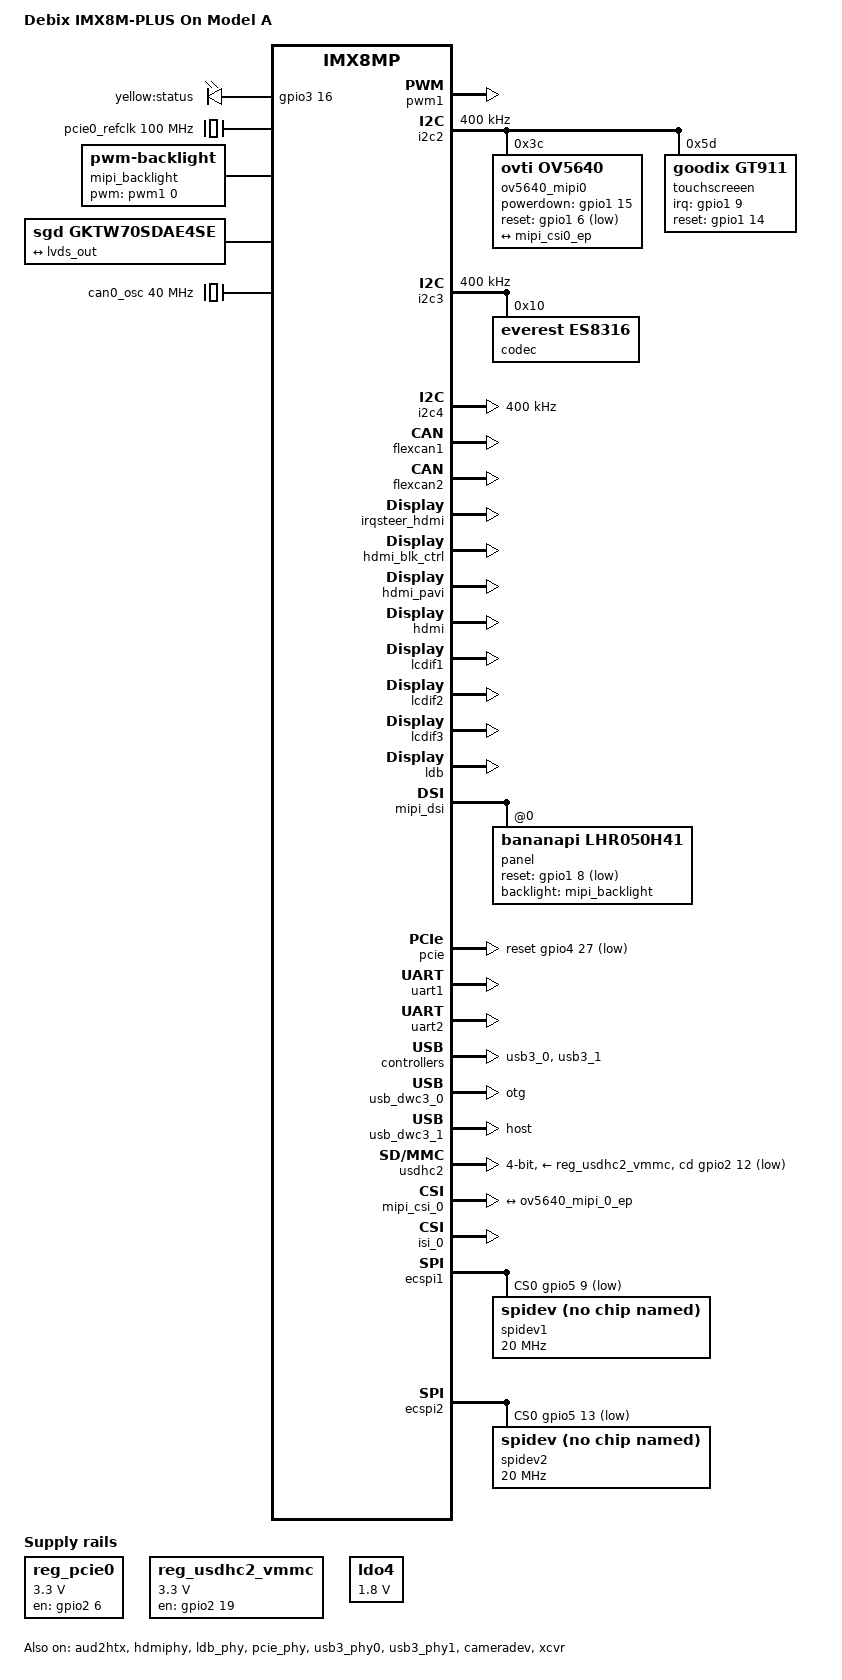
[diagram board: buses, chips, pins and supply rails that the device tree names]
// SPDX-License-Identifier: (GPL-2.0+ OR MIT)
/*
 * Copyright 2019 NXP
 */

#include "imx8mp-debix.dtsi"

/ {
	model = "Debix IMX8M-PLUS On Model A";

	chosen {
		stdout-path = &uart2;
	};

	gpio-keys {
		compatible = "gpio-keys";
		status = "okay";
	};

	gpio-leds {
		compatible = "gpio-leds";
		pinctrl-names = "default";
		pinctrl-0 = <&pinctrl_gpio_led>;

		status {
			label = "yellow:status";
			gpios = <&gpio3 16 GPIO_ACTIVE_HIGH>;
			default-state = "on";
		};
	};

	pcie0_refclk: pcie0-refclk {
		compatible = "fixed-clock";
		#clock-cells = <0>;
		clock-frequency = <100000000>;
	};

	reg_pcie0: regulator-pcie {
		compatible = "regulator-fixed";
		pinctrl-names = "default";
		pinctrl-0 = <&pinctrl_pcie0_reg>;
		regulator-name = "MPCIE_3V3";
		regulator-min-microvolt = <3300000>;
		regulator-max-microvolt = <3300000>;
		gpio = <&gpio2 6 GPIO_ACTIVE_HIGH>;
		enable-active-high;
		regulator-always-on;
	};

	reg_usdhc2_vmmc: regulator-usdhc2-vmmc {
		compatible = "regulator-fixed";
		regulator-name = "VSD_3V3";
		regulator-min-microvolt = <3300000>;
		regulator-max-microvolt = <3300000>;
		gpio = <&gpio2 19 GPIO_ACTIVE_HIGH>;
		enable-active-high;
		startup-delay-us = <100>;
		off-on-delay-us = <12000>;
	};

	mipi_backlight: mipi_backlight {
		compatible = "pwm-backlight";
		pwms = <&pwm1 0 1000000 0>;
		status = "okay";

		brightness-levels = < 0  1  2  3  4  5  6  7  8  9
				     10 11 12 13 14 15 16 17 18 19
				     20 21 22 23 24 25 26 27 28 29
				     30 31 32 33 34 35 36 37 38 39
				     40 41 42 43 44 45 46 47 48 49
				     50 51 52 53 54 55 56 57 58 59
				     60 61 62 63 64 65 66 67 68 69
				     70 71 72 73 74 75 76 77 78 79
				     80 81 82 83 84 85 86 87 88 89
				     90 91 92 93 94 95 96 97 98 99
				    100>;
		default-brightness-level = <80>;
	};

	panel {
		compatible = "sgd,gktw70sdae4se", "panel-lvds";
		width-mm = <153>;
		height-mm = <87>;
		label = "gktw70sdae4se";
		data-mapping = "jeida-24";
		status = "okay";

		panel-timing {
			clock-frequency = <33000000>;
			hactive = <800>;
			vactive = <480>;
			hback-porch = <40>;
			hfront-porch = <40>;
			vback-porch = <29>;
			vfront-porch = <13>;
			hsync-len = <48>;
			vsync-len = <3>;
			hsync-active = <0>;
			vsync-active = <0>;
			de-active = <1>;
		};

		port {
			panel_in: endpoint {
				remote-endpoint = <&lvds_out>;
			};
		};
	};

	can0_osc: can0_osc {
		compatible = "fixed-clock";
		#clock-cells = <0>;
		clock-frequency = <40000000>;
	};

	sound_hdmi: sound_hdmi {
		compatible = "fsl,imx-audio-hdmi";
		model = "audio-hdmi";
		audio-cpu = <&aud2htx>;
		hdmi-out;
		constraint-rate = <44100>,
				<88200>,
				<176400>,
				<32000>,
				<48000>,
				<96000>,
				<192000>;
		status = "okay";
	};

};

&aud2htx {
	status = "okay";
};

&pwm1 {
	pinctrl-names = "default";
	pinctrl-0 = <&pinctrl_pwm1>;
	status = "okay";
};

&flexspi {
	pinctrl-names = "default";
	pinctrl-0 = <&pinctrl_flexspi0>;
	status = "disabled";
};

&i2c2 {
	clock-frequency = <400000>;
	pinctrl-names = "default";
	pinctrl-0 = <&pinctrl_i2c2>;
	status = "okay";


	ov5640_mipi0: ov5640_mipi@3c {
		compatible = "ovti,ov5640";
		reg = <0x3c>;
		clocks = <&clk IMX8MP_CLK_IPP_DO_CLKO2>;
		clock-names = "xclk";
/* Disabled CLKO2, since DART-MX8MP camera expansion board uses
 * its own oscillator. Enable CLK02 if your desing requres it
 */
#if 0
		assigned-clocks = <&clk IMX8MP_CLK_IPP_DO_CLKO2>;
		assigned-clock-parents = <&clk IMX8MP_CLK_24M>;
#endif
		assigned-clock-rates = <24000000>;
		pinctrl-0 = <&pinctrl_csi0_rst> ,<&pinctrl_csi0_pwn>; 
		csi_id = <0>;
 		powerdown-gpios = <&gpio1 15 GPIO_ACTIVE_HIGH>;
 		reset-gpios = <&gpio1 6 GPIO_ACTIVE_LOW>;
		mclk = <24000000>;
		mclk_source = <0>;
		mipi_csi;
		status = "okay";

		port {
			ov5640_mipi_0_ep: endpoint {
				remote-endpoint = <&mipi_csi0_ep>;
				data-lanes = <1 2>;
				clock-lanes = <0>;
			};
		};
	};


	touchscreeen@5d {
		compatible = "goodix,gt911";
		reg = <0x5d>;
		pinctrl-names = "default";
		pinctrl-0 = <&pinctrl_mipiTP>;
		interrupt-parent = <&gpio1>;
		interrupts = <9 IRQ_TYPE_EDGE_FALLING>;
		irq-gpios = <&gpio1 9 GPIO_ACTIVE_HIGH>;        /* CTP-INT: PH4 */
		reset-gpios = <&gpio1 14 GPIO_ACTIVE_HIGH>;     /* CTP-RST: PH11 */
		//touchscreen-inverted-x;
		//touchscreen-inverted-y;
		//edge-failling-trigger;
		touchscreen-swapped-x-y;
		touchscreen-size-x = <800>;
		touchscreen-size-y = <1280>;
		status = "okay";
	};
};

&i2c3 {
	clock-frequency = <400000>;
	pinctrl-names = "default";
	pinctrl-0 = <&pinctrl_i2c3>;
	status = "okay";

	codec: es8316@10 {
		compatible = "everest,es8316";
		reg = <0x10>;
		clocks = <&audio_blk_ctrl IMX8MP_CLK_AUDIOMIX_SAI3_MCLK1>;
		clock-names = "mclk";
	};
};

&i2c4 {
	clock-frequency = <400000>;
	pinctrl-names = "default";
	pinctrl-0 = <&pinctrl_i2c4>;
	status = "okay";

	ov5640_mipi1: ov5640_mipi@3c {
		compatible = "ovti,ov5640";
		reg = <0x3c>;
		clocks = <&clk IMX8MP_CLK_IPP_DO_CLKO2>;
		clock-names = "xclk";
/* Disabled CLKO2, since DART-MX8MP camera expansion board uses
 * its own oscillator. Enable CLK02 if your desing requres it
 */
#if 0
		assigned-clocks = <&clk IMX8MP_CLK_IPP_DO_CLKO2>;
		assigned-clock-parents = <&clk IMX8MP_CLK_24M>;
#endif
		assigned-clock-rates = <24000000>;
		csi_id = <1>;
 		powerdown-gpios = <&gpio1 15 GPIO_ACTIVE_HIGH>;
 		reset-gpios = <&gpio1 6 GPIO_ACTIVE_HIGH>;
		mclk = <24000000>;
		mclk_source = <0>;
		mipi_csi;
		status = "disabled";

		port {
			ov5640_mipi_1_ep: endpoint {
				remote-endpoint = <&mipi_csi1_ep>;
				data-lanes = <1 2>;
				clock-lanes = <0>;
			};
		};
	};
};

&flexcan1 {
	pinctrl-names = "default";
	pinctrl-0 = <&pinctrl_flexcan1>;
	status = "okay";
};

&flexcan2 {
	pinctrl-names = "default";
	pinctrl-0 = <&pinctrl_flexcan2>;
	status = "okay";
};

&irqsteer_hdmi {
	status = "okay";
};

&hdmi_blk_ctrl {
	status = "okay";
};

&hdmi_pavi {
	status = "okay";
};

&hdmi {
	status = "okay";
};

&hdmiphy {
	status = "okay";
};

/* MIPI-DSI */
&lcdif1 {
	status = "okay";
};

/* LVDS */
&lcdif2 {
	status = "okay";
};

/* HDMI */
&lcdif3 {
	status = "okay";
	thres-low  = <1 2>;             /* (FIFO * 1 / 2) */
	thres-high = <3 4>;             /* (FIFO * 3 / 4) */
};

&ldb {
	status = "okay";

	lvds-channel@0 {
		fsl,data-mapping = "jeida";
		fsl,data-width = <24>;
		status = "okay";

		port@1 {
			reg = <1>;

			lvds_out: endpoint {
				remote-endpoint = <&panel_in>;
			};
		};
	};
};

&ldb_phy {
	status = "okay";
};


&mipi_dsi{
        #address-cells = <1>;
        #size-cells = <0>;
        status = "okay";
        panel@0 {
            compatible = "bananapi,lhr050h41", "ilitek,ili9881c";
            backlight = <&mipi_backlight>;
            pinctrl-0 = <&pinctrl_mipi_dsi_en>;
            reset-gpio = <&gpio1 8 GPIO_ACTIVE_LOW>;
            reg = <0>;
            timing-mode = <0>;
            video-mode = <2>;
            /*
            0: burst mode
            1: non-burst mode with sync event
            2: non-burst mode with sync pulse
            */
            status = "okay";
        };
};


&pcie {
	pinctrl-0 = <&pinctrl_pcie0>;
	reset-gpio = <&gpio4 27 GPIO_ACTIVE_LOW>;
	ext_osc = <1>;
	clocks = <&clk IMX8MP_CLK_HSIO_ROOT>,
		 <&clk IMX8MP_CLK_PCIE_AUX>,
		 <&clk IMX8MP_CLK_HSIO_AXI>,
		 <&clk IMX8MP_CLK_PCIE_ROOT>;
	clock-names = "pcie", "pcie_aux", "pcie_phy", "pcie_bus";
	assigned-clocks = <&clk IMX8MP_CLK_HSIO_AXI>,
			  <&clk IMX8MP_CLK_PCIE_AUX>;
	assigned-clock-rates = <500000000>, <10000000>;
	assigned-clock-parents = <&clk IMX8MP_SYS_PLL2_500M>,
				 <&clk IMX8MP_SYS_PLL2_50M>;
	l1ss-disabled;
	vpcie-supply = <&reg_pcie0>;
	status = "okay";
};

&pcie_ep {
	ext_osc = <1>;
	clocks = <&clk IMX8MP_CLK_HSIO_ROOT>,
		 <&clk IMX8MP_CLK_PCIE_AUX>,
		 <&clk IMX8MP_CLK_HSIO_AXI>,
		 <&clk IMX8MP_CLK_PCIE_ROOT>;
	clock-names = "pcie", "pcie_aux", "pcie_phy", "pcie_bus";
	assigned-clocks = <&clk IMX8MP_CLK_HSIO_AXI>,
			  <&clk IMX8MP_CLK_PCIE_AUX>;
	assigned-clock-rates = <500000000>, <10000000>;
	assigned-clock-parents = <&clk IMX8MP_SYS_PLL2_500M>,
				 <&clk IMX8MP_SYS_PLL2_50M>;
	status = "disabled";
};

&pcie_phy {
	fsl,refclk-pad-mode = <IMX8_PCIE_REFCLK_PAD_INPUT>;
	clocks = <&pcie0_refclk>;
	clock-names = "ref";
	status = "okay";
};

&uart1 { /* BT */
	pinctrl-names = "default";
	pinctrl-0 = <&pinctrl_uart1>;
	assigned-clocks = <&clk IMX8MP_CLK_UART1>;
	assigned-clock-parents = <&clk IMX8MP_SYS_PLL1_80M>;
	fsl,uart-has-rtscts;
	status = "okay";

	// bluetooth {   
	// 	compatible = "nxp,88w8997-bt";
	// };
};
/* Header */
&uart2 {
	pinctrl-names = "default";
	pinctrl-0 = <&pinctrl_uart2>;
	status = "okay";
};


&usb3_phy0 {
	fsl,phy-tx-vref-tune = <0xe>;
	fsl,phy-tx-preemp-amp-tune = <3>;
	fsl,phy-tx-vboost-level = <5>;
	fsl,phy-comp-dis-tune = <7>;
	fsl,pcs-tx-deemph-3p5db = <0x21>;
	fsl,phy-pcs-tx-swing-full = <0x7f>;
	status = "okay";
};

&usb3_0 {
	status = "okay";
};

&usb_dwc3_0 {
	dr_mode = "otg";
	hnp-disable;
	srp-disable;
	adp-disable;
	usb-role-switch;
	// role-switch-default-mode = "none";
	snps,dis-u1-entry-quirk;
	snps,dis-u2-entry-quirk;
	status = "okay";

};

&usb3_phy1 {
	fsl,phy-tx-preemp-amp-tune = <3>;
	fsl,phy-tx-vref-tune = <0xb>;
	status = "okay";
};

&usb3_1 {
	status = "okay";
};

&usb_dwc3_1 {
	// vbus-supply = <&reg_usb_vbus>;
	pinctrl-names = "default";
	pinctrl-0 = <&pinctrl_usb1_vbus>;
	hub-pwd-gpio = <&gpio4 26 GPIO_ACTIVE_LOW>;
	hub-reset-gpio = <&gpio4 25 GPIO_ACTIVE_LOW>;
	dr_mode = "host";
	status = "okay";
};

&usdhc2 {
	// #address-cells = <1>;
	// #size-cells = <0>;
	assigned-clocks = <&clk IMX8MP_CLK_USDHC2>;
	assigned-clock-rates = <400000000>;
	pinctrl-names = "default", "state_100mhz", "state_200mhz";
	pinctrl-0 = <&pinctrl_usdhc2>, <&pinctrl_usdhc2_gpio>;
	pinctrl-1 = <&pinctrl_usdhc2_100mhz>, <&pinctrl_usdhc2_gpio>;
	pinctrl-2 = <&pinctrl_usdhc2_200mhz>, <&pinctrl_usdhc2_gpio>;
	cd-gpios = <&gpio2 12 GPIO_ACTIVE_LOW>;
	vmmc-supply = <&reg_usdhc2_vmmc>;
	bus-width = <4>;
	status = "okay";
};

&mipi_csi_0 {
	#address-cells = <1>;
	#size-cells = <0>;
	status = "okay";

	port@0 {
		reg = <0>;
		mipi_csi0_ep: endpoint {
			remote-endpoint = <&ov5640_mipi_0_ep>;
			data-lanes = <2>;
			csis-hs-settle = <13>;
			csis-clk-settle = <2>;
			csis-wclk;
		};
	};
};

&mipi_csi_1 {
	#address-cells = <1>;
	#size-cells = <0>;
	status = "disabled";

	port@1 {
		reg = <1>;
		mipi_csi1_ep: endpoint {
			remote-endpoint = <&ov5640_mipi_1_ep>;
			data-lanes = <2>;
			csis-hs-settle = <13>;
			csis-clk-settle = <2>;
			csis-wclk;
		};
	};
};

&cameradev {
	status = "okay";
};

&isi_0 {
	status = "okay";

	cap_device {
		status = "okay";
	};

	m2m_device {
		status = "disabled";
	};
};

&isi_1 {
	status = "disabled";

	cap_device {
		status = "okay";
	};
};

&ecspi1 {
	#address-cells = <1>;
	#size-cells = <0>;
	fsl,spi-num-chipselects = <1>;
	pinctrl-names = "default";
	pinctrl-0 = <&pinctrl_ecspi1 &pinctrl_ecspi1_cs>;
	cs-gpios = <&gpio5 9 GPIO_ACTIVE_LOW>;
	status = "okay";
	spidev1: spi@0 {
		reg = <0>;
		compatible = "rohm,dh2228fv";
		spi-max-frequency = <20000000>;
	};
};

&ecspi2 {
	#address-cells = <1>;
	#size-cells = <0>;
	fsl,spi-num-chipselects = <1>;
	pinctrl-names = "default";
	pinctrl-0 = <&pinctrl_ecspi2 &pinctrl_ecspi2_cs>;
	cs-gpios = <&gpio5 13 GPIO_ACTIVE_LOW>;
	status = "okay";

	spidev2: spi@0 {
		reg = <0>;
		compatible = "rohm,dh2228fv";
		spi-max-frequency = <20000000>;
	};
};


&ldo4 {
	regulator-min-microvolt = <1800000>;
	regulator-max-microvolt = <1800000>;
};

&xcvr {
	#sound-dai-cells = <0>;
	status = "okay";
};

&iomuxc {
	pinctrl-names = "default";
	pinctrl-0 = <&pinctrl_hog>;

	pinctrl_hog: hoggrp {
		fsl,pins = <
			MX8MP_IOMUXC_HDMI_DDC_SCL__HDMIMIX_HDMI_SCL			0x400001c2
			MX8MP_IOMUXC_HDMI_DDC_SDA__HDMIMIX_HDMI_SDA			0x400001c2
			MX8MP_IOMUXC_HDMI_HPD__HDMIMIX_HDMI_HPD				0x40000010
			MX8MP_IOMUXC_HDMI_CEC__HDMIMIX_HDMI_CEC				0x40000010
		>;
	};

	pinctrl_pwm1: pwm1grp {
		fsl,pins = <
			MX8MP_IOMUXC_GPIO1_IO01__PWM1_OUT				0x116
		>;
	};

	pinctrl_ecspi1: ecspi1grp {
		fsl,pins = <
			MX8MP_IOMUXC_ECSPI1_SCLK__ECSPI1_SCLK		0x82
			MX8MP_IOMUXC_ECSPI1_MOSI__ECSPI1_MOSI		0x82
			MX8MP_IOMUXC_ECSPI1_MISO__ECSPI1_MISO		0x82
		>;
	};
	
	pinctrl_ecspi1_cs: ecspi1cs {
		fsl,pins = <
			MX8MP_IOMUXC_ECSPI1_SS0__GPIO5_IO09		0x40000
		>;
	};

	pinctrl_ecspi2: ecspi2grp {
		fsl,pins = <
			MX8MP_IOMUXC_ECSPI2_SCLK__ECSPI2_SCLK		0x82
			MX8MP_IOMUXC_ECSPI2_MOSI__ECSPI2_MOSI		0x82
			MX8MP_IOMUXC_ECSPI2_MISO__ECSPI2_MISO		0x82
		>;
	};

	pinctrl_ecspi2_cs: ecspi2cs {
		fsl,pins = <
			MX8MP_IOMUXC_ECSPI2_SS0__GPIO5_IO13		0x40000
		>;
	};

	pinctrl_flexspi0: flexspi0grp {
		fsl,pins = <
			MX8MP_IOMUXC_NAND_ALE__FLEXSPI_A_SCLK				0x1c2
			MX8MP_IOMUXC_NAND_CE0_B__FLEXSPI_A_SS0_B			0x82
			MX8MP_IOMUXC_NAND_DATA00__FLEXSPI_A_DATA00			0x82
			MX8MP_IOMUXC_NAND_DATA01__FLEXSPI_A_DATA01			0x82
			MX8MP_IOMUXC_NAND_DATA02__FLEXSPI_A_DATA02			0x82
			MX8MP_IOMUXC_NAND_DATA03__FLEXSPI_A_DATA03			0x82
		>;
	};

	pinctrl_i2c2: i2c2grp {
		fsl,pins = <
			MX8MP_IOMUXC_I2C2_SCL__I2C2_SCL					0x400001c2
			MX8MP_IOMUXC_I2C2_SDA__I2C2_SDA					0x400001c2
		>;
	};

	pinctrl_i2c3: i2c3grp {
		fsl,pins = <
			MX8MP_IOMUXC_I2C3_SCL__I2C3_SCL					0x400001c2
			MX8MP_IOMUXC_I2C3_SDA__I2C3_SDA					0x400001c2
		>;
	};

	pinctrl_i2c4: i2c4grp {
		fsl,pins = <
			MX8MP_IOMUXC_I2C4_SCL__I2C4_SCL					0x400001c2
			MX8MP_IOMUXC_I2C4_SDA__I2C4_SDA					0x400001c2
		>;
	};


	pinctrl_uart1: uart1grp {
		fsl,pins = <
			MX8MP_IOMUXC_UART1_RXD__UART1_DCE_RX	0x140
			MX8MP_IOMUXC_UART1_TXD__UART1_DCE_TX	0x140
			MX8MP_IOMUXC_SAI2_TXFS__UART1_DCE_CTS	0x140
			MX8MP_IOMUXC_SAI2_RXD0__UART1_DCE_RTS	0x140
		>;
	};


	pinctrl_uart2: uart2grp {
		fsl,pins = <
			MX8MP_IOMUXC_UART2_RXD__UART2_DCE_RX				0x40
			MX8MP_IOMUXC_UART2_TXD__UART2_DCE_TX				0x40
		>;
	};

	pinctrl_usdhc2: usdhc2grp {
		fsl,pins = <
			MX8MP_IOMUXC_SD2_CLK__USDHC2_CLK	0x190
			MX8MP_IOMUXC_SD2_CMD__USDHC2_CMD	0x1d0
			MX8MP_IOMUXC_SD2_DATA0__USDHC2_DATA0	0x1d0
			MX8MP_IOMUXC_SD2_DATA1__USDHC2_DATA1	0x1d0
			MX8MP_IOMUXC_SD2_DATA2__USDHC2_DATA2	0x1d0
			MX8MP_IOMUXC_SD2_DATA3__USDHC2_DATA3	0x1d0
			MX8MP_IOMUXC_GPIO1_IO04__USDHC2_VSELECT	0xc1
		>;
	};

	pinctrl_usdhc2_100mhz: usdhc2-100mhzgrp {
		fsl,pins = <
			MX8MP_IOMUXC_SD2_CLK__USDHC2_CLK	0x194
			MX8MP_IOMUXC_SD2_CMD__USDHC2_CMD	0x1d4
			MX8MP_IOMUXC_SD2_DATA0__USDHC2_DATA0	0x1d4
			MX8MP_IOMUXC_SD2_DATA1__USDHC2_DATA1	0x1d4
			MX8MP_IOMUXC_SD2_DATA2__USDHC2_DATA2	0x1d4
			MX8MP_IOMUXC_SD2_DATA3__USDHC2_DATA3	0x1d4
			MX8MP_IOMUXC_GPIO1_IO04__USDHC2_VSELECT 0xc1
		>;
	};

	pinctrl_usdhc2_200mhz: usdhc2-200mhzgrp {
		fsl,pins = <
			MX8MP_IOMUXC_SD2_CLK__USDHC2_CLK	0x196
			MX8MP_IOMUXC_SD2_CMD__USDHC2_CMD	0x1d6
			MX8MP_IOMUXC_SD2_DATA0__USDHC2_DATA0	0x1d6
			MX8MP_IOMUXC_SD2_DATA1__USDHC2_DATA1	0x1d6
			MX8MP_IOMUXC_SD2_DATA2__USDHC2_DATA2	0x1d6
			MX8MP_IOMUXC_SD2_DATA3__USDHC2_DATA3	0x1d6
			MX8MP_IOMUXC_GPIO1_IO04__USDHC2_VSELECT 0xc1
		>;
	};

	pinctrl_usdhc2_gpio: usdhc2gpiogrp {
		fsl,pins = <
			MX8MP_IOMUXC_SD2_CD_B__GPIO2_IO12	0x1c4
		>;
	};

	pinctrl_usb1_vbus: usb1grp {
		fsl,pins = <
			MX8MP_IOMUXC_SAI2_TXC__GPIO4_IO25	 0x19 /*rst*/
			MX8MP_IOMUXC_SAI2_TXD0__GPIO4_IO26	0x19  /*pwd*/
		>;
	};

	pinctrl_flexcan1: flexcan1grp {
		fsl,pins = <
			MX8MP_IOMUXC_SAI5_RXD2__CAN1_RX          0x154
			MX8MP_IOMUXC_SAI5_RXD1__CAN1_TX          0x154
		>;
	};

	pinctrl_flexcan2: flexcan2grp {
		fsl,pins = <
			MX8MP_IOMUXC_SAI5_MCLK__CAN2_RX         0x154
			MX8MP_IOMUXC_SAI5_RXD3__CAN2_TX         0x154
		>;
	};


	pinctrl_gpio_led: gpioledgrp {
		fsl,pins = <
			MX8MP_IOMUXC_NAND_READY_B__GPIO3_IO16	0x140
		>;
	};

	pinctrl_mipi_dsi_en: mipi_dsi_en {
		fsl,pins = <
			MX8MP_IOMUXC_GPIO1_IO08__GPIO1_IO08	0x16
		>;
	};

	pinctrl_mipiTP: mipiTPgrp {
		fsl,pins = <
				MX8MP_IOMUXC_GPIO1_IO14__GPIO1_IO14       0x16
				MX8MP_IOMUXC_GPIO1_IO09__GPIO1_IO09       0x1c4
		>;
        };

	pinctrl_csi0_pwn: csi0_pwn_grp {
		fsl,pins = <
			//	MX8MP_IOMUXC_SD1_STROBE__GPIO2_IO11	0x10
			MX8MP_IOMUXC_GPIO1_IO15__GPIO1_IO15	0x19 //io board imx219 pwn
		>;
	};

	pinctrl_csi0_rst: csi0_rst_grp {
		fsl,pins = <
			MX8MP_IOMUXC_GPIO1_IO06__GPIO1_IO06		0x10
		>;
	};

	pinctrl_pcie0: pcie0grp {
		fsl,pins = <
			MX8MP_IOMUXC_I2C4_SCL__PCIE_CLKREQ_B	0x60 /* open drain, pull up */
			MX8MP_IOMUXC_SD1_DATA5__GPIO2_IO07	0x40
			MX8MP_IOMUXC_I2C4_SDA__GPIO5_IO21	0x1c4
		>;
	};

	pinctrl_pcie0_reg: pcie0reggrp {
		fsl,pins = <
			MX8MP_IOMUXC_SD1_DATA4__GPIO2_IO06	0x40
		>;
	};
};
